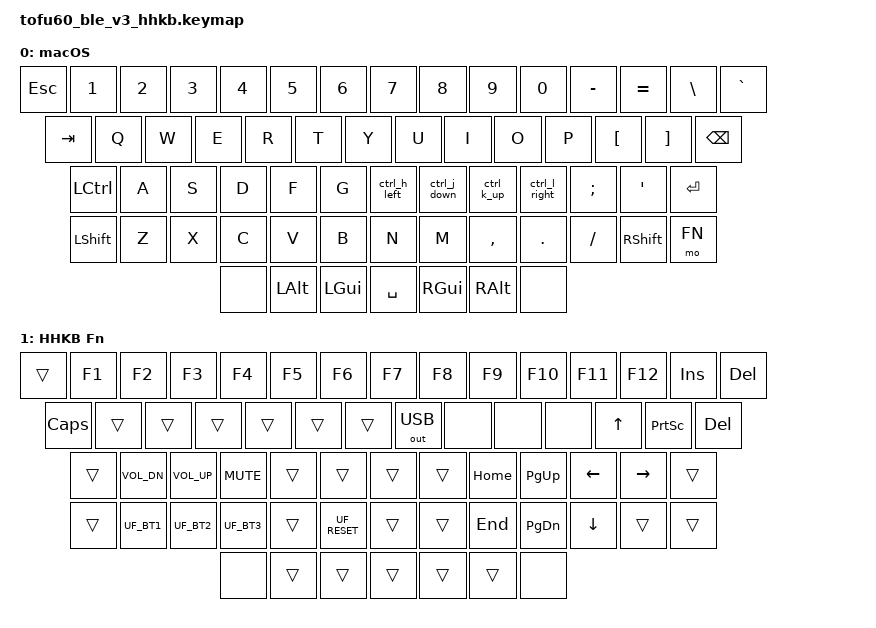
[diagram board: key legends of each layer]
/*
 * Tofu60 BLE 3.0 HHKB keymap
 *
 * Layer 0: macOS
 * Layer 1: HHKB function layer
 */

#define ZMK_BEHAVIORS_OMIT_CAPS_WORD
#define ZMK_BEHAVIORS_OMIT_KT
#define ZMK_BEHAVIORS_OMIT_KEY_REPEAT
#define ZMK_BEHAVIORS_OMIT_SK
#define ZMK_BEHAVIORS_OMIT_STICKY_LAYER

#include <behaviors.dtsi>
#include <dt-bindings/zmk/bt.h>
#include <dt-bindings/zmk/keys.h>
#include <dt-bindings/zmk/outputs.h>

#define FN 1

#define UF_RESET hhkb_bootloader_reset 0 0
#define UF_BT1 hhkb_device_bt1 0 0
#define UF_BT2 hhkb_device_bt2 0 1
#define UF_BT3 hhkb_device_bt3 0 2

/ {
    behaviors {
        indicator_refresh: indicator_refresh {
            compatible = "klink,behavior-indicator-refresh";
            #binding-cells = <0>;
            display-name = "Refresh Indicator";
        };

        ZMK_MACRO(hhkb_bt_clear_0, bindings = <&bt BT_SEL 0>, <&bt BT_CLR>, <&indicator_refresh>;)
        ZMK_MACRO(hhkb_bt_clear_1, bindings = <&bt BT_SEL 1>, <&bt BT_CLR>, <&indicator_refresh>;)
        ZMK_MACRO(hhkb_bt_clear_2, bindings = <&bt BT_SEL 2>, <&bt BT_CLR>, <&indicator_refresh>;)
        ZMK_MACRO(hhkb_bt_connect_0, bindings = <&out OUT_BLE>, <&bt BT_SEL 0>, <&indicator_refresh>;)
        ZMK_MACRO(hhkb_bt_connect_1, bindings = <&out OUT_BLE>, <&bt BT_SEL 1>, <&indicator_refresh>;)
        ZMK_MACRO(hhkb_bt_connect_2, bindings = <&out OUT_BLE>, <&bt BT_SEL 2>, <&indicator_refresh>;)

        hhkb_device_bt1: hhkb_device_bt1 {
            compatible = "zmk,behavior-hold-tap";
            #binding-cells = <2>;
            flavor = "tap-preferred";
            tapping-term-ms = <3000>;
            bindings = <&hhkb_bt_clear_0>, <&hhkb_bt_connect_0>;
            display-name = "Bluetooth 1";
        };

        hhkb_device_bt2: hhkb_device_bt2 {
            compatible = "zmk,behavior-hold-tap";
            #binding-cells = <2>;
            flavor = "tap-preferred";
            tapping-term-ms = <3000>;
            bindings = <&hhkb_bt_clear_1>, <&hhkb_bt_connect_1>;
            display-name = "Bluetooth 2";
        };

        hhkb_device_bt3: hhkb_device_bt3 {
            compatible = "zmk,behavior-hold-tap";
            #binding-cells = <2>;
            flavor = "tap-preferred";
            tapping-term-ms = <3000>;
            bindings = <&hhkb_bt_clear_2>, <&hhkb_bt_connect_2>;
            display-name = "Bluetooth 3";
        };

        hhkb_bootloader_reset: hhkb_bootloader_reset {
            compatible = "zmk,behavior-hold-tap";
            #binding-cells = <2>;
            flavor = "tap-preferred";
            tapping-term-ms = <3000>;
            bindings = <&bootloader>, <&sys_reset>;
            display-name = "Bootloader / Reset";
        };

        ctrl_h_left: ctrl_h_left {
            compatible = "zmk,behavior-mod-morph";
            #binding-cells = <0>;
            bindings = <&kp H>, <&kp LEFT>;
            mods = <(MOD_LCTL | MOD_RCTL)>;
            keep-mods = <0>;
            display-name = "Ctrl+H Left";
        };

        ctrl_j_down: ctrl_j_down {
            compatible = "zmk,behavior-mod-morph";
            #binding-cells = <0>;
            bindings = <&kp J>, <&kp DOWN>;
            mods = <(MOD_LCTL | MOD_RCTL)>;
            keep-mods = <0>;
            display-name = "Ctrl+J Down";
        };

        ctrl_k_up: ctrl_k_up {
            compatible = "zmk,behavior-mod-morph";
            #binding-cells = <0>;
            bindings = <&kp K>, <&kp UP>;
            mods = <(MOD_LCTL | MOD_RCTL)>;
            keep-mods = <0>;
            display-name = "Ctrl+K Up";
        };

        ctrl_l_right: ctrl_l_right {
            compatible = "zmk,behavior-mod-morph";
            #binding-cells = <0>;
            bindings = <&kp L>, <&kp RIGHT>;
            mods = <(MOD_LCTL | MOD_RCTL)>;
            keep-mods = <0>;
            display-name = "Ctrl+L Right";
        };
    };

    keymap {
        compatible = "zmk,keymap";

        mac_layer {
            display-name = "macOS";
            bindings = <
&kp ESC   &kp N1 &kp N2 &kp N3 &kp N4 &kp N5 &kp N6 &kp N7 &kp N8 &kp N9 &kp N0 &kp MINUS &kp EQUAL &kp BSLH &kp GRAVE
&kp TAB     &kp Q  &kp W  &kp E  &kp R  &kp T  &kp Y  &kp U  &kp I  &kp O  &kp P  &kp LBKT  &kp RBKT       &kp BSPC
&kp LCTRL     &kp A  &kp S  &kp D  &kp F  &kp G  &ctrl_h_left &ctrl_j_down &ctrl_k_up &ctrl_l_right &kp SEMI &kp SQT &kp RET
&kp LSHIFT         &kp Z  &kp X  &kp C  &kp V  &kp B  &kp N  &kp M  &kp COMMA &kp DOT &kp FSLH &kp RSHIFT &mo FN
                 &none &kp LALT &kp LGUI             &kp SPACE                &kp RGUI &kp RALT &none
            >;
        };

        fn_layer {
            display-name = "HHKB Fn";
            bindings = <
&trans  &kp F1 &kp F2 &kp F3 &kp F4 &kp F5 &kp F6 &kp F7 &kp F8 &kp F9 &kp F10 &kp F11 &kp F12 &kp INSERT &kp DELETE
&kp CLCK &trans &trans &trans &trans &trans &trans &out OUT_USB &none &none &none &kp UP &kp PRINTSCREEN &kp DELETE
&trans     &kp C_VOL_DN &kp C_VOL_UP &kp C_MUTE &trans &trans &trans &trans &kp HOME &kp PAGE_UP &kp LEFT &kp RIGHT &trans
&trans          &UF_BT1 &UF_BT2 &UF_BT3 &trans &UF_RESET &trans &trans &kp END &kp PAGE_DOWN &kp DOWN &trans &trans
                       &none &trans &trans              &trans                    &trans &trans &none
            >;
        };
    };
};
